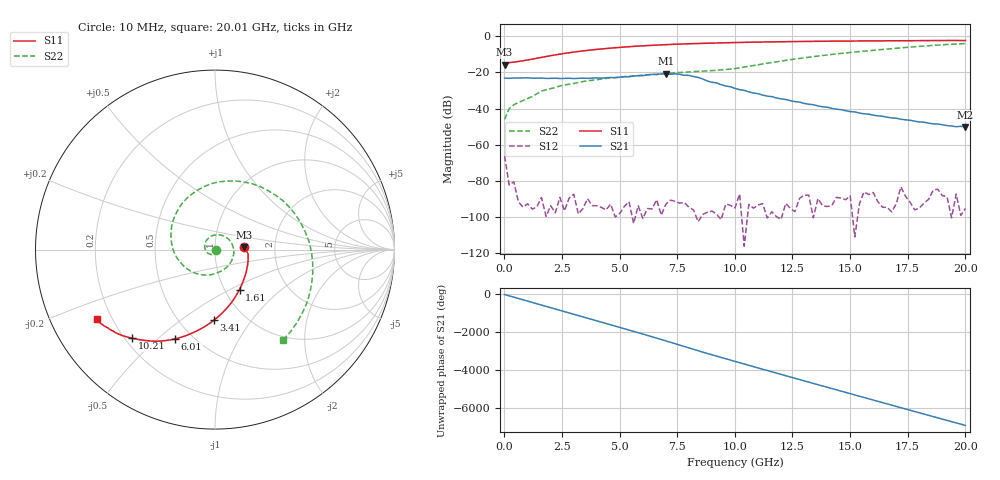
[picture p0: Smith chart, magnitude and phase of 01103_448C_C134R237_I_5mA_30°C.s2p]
!;Filter: kein Filter
!auto
!3/21/2019 9:27:39 AM
!3/21/2019 9:27:53 AM
!SP-Measurements Prober G4
!SP-Measurements Prober G4
!01103_448C
!134
!237
!12
!30
!-20
!0.00499992
!1.96
!0.64375220
!0.64375220
# Hz S  RI  R 50
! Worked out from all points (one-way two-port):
!   101 points, 10 MHz to 20.01 GHz, reference 50 ohm
!   highest |S21| = -20.75 dB at 7.01 GHz (marker M1); lowest = -50.2 dB at 20.01 GHz (marker M2)
!   lowest |S11| = -15.8 dB at 10 MHz (marker M3), VSWR 1.39, Z = 69.3 + j2.09 ohm
!   |S11| at or under -10 dB: start of sweep to 2.343 GHz
!   |S22| runs from -46.1 to -4.0 dB; largest |S21 - S12| = 0.092
!   S11 on the Smith chart (normalised r, x): 10 MHz: 1.39, +0.04; 1.61 GHz: 1.17, -0.56; 3.41 GHz: 0.72, -0.67; 6.01 GHz: 0.40, -0.57; 10.21 GHz: 0.23, -0.41; 20.01 GHz: 0.14, -0.27
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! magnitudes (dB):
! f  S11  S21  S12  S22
! 10 MHz  -15.8  -23.1  -66.3  -46.1
! 210 MHz  -14.6  -23.3  -82.4  -40.0
! 410 MHz  -14.3  -23.1  -80.6  -37.9
! 1.21 GHz  -12.6  -23.2  -95.7  -33.4
! 1.61 GHz  -11.7  -23.1  -89.3  -30.4
! 2.61 GHz  -9.5  -23.3  -96.7  -26.9
! 3.41 GHz  -8.1  -23.2  -95.4  -25.1
! 4.81 GHz  -6.3  -22.9  -100.1  -22.9
! 6.01 GHz  -5.3  -21.8  -101.0  -21.5
! 6.81 GHz  -4.7  -20.8  -99.1  -20.8
! 7.01 GHz  -4.6  -20.8  -93.0  -20.5
! 7.41 GHz  -4.4  -20.8  -91.4  -20.2
! 8.01 GHz  -4.1  -21.6  -94.7  -19.7
! 8.41 GHz  -4.0  -22.8  -102.7  -19.4
! 10.01 GHz  -3.5  -28.9  -95.1  -17.8
! 10.21 GHz  -3.4  -29.6  -87.3  -17.5
! 11.41 GHz  -3.1  -33.1  -100.6  -14.9
! 13.41 GHz  -2.8  -37.9  -100.6  -11.3
! 15.01 GHz  -2.6  -41.7  -88.4  -8.9
! 16.81 GHz  -2.5  -45.2  -97.3  -6.8
! 19.61 GHz  -2.3  -50.1  -87.4  -4.3
! 20.01 GHz  -2.3  -50.2  -95.4  -4.0
